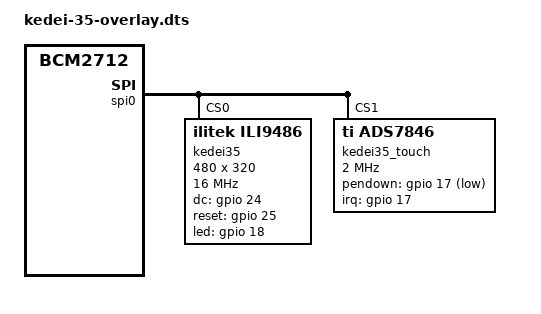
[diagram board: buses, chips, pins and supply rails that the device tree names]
/*
 * KeDei 3.5" TFT Display (ILI9486/MPI3501)
 * 480x320 resolution with XPT2046 touch
 */

/dts-v1/;
/plugin/;

/ {
    compatible = "brcm,bcm2712";
    
    fragment@0 {
        target = <&spidev0>;
        __overlay__ {
            status = "disabled";
        };
    };
    
    fragment@1 {
        target = <&spidev1>;
        __overlay__ {
            status = "disabled";
        };
    };
    
    fragment@2 {
        target = <&spi0>;
        __overlay__ {
            status = "okay";
            #address-cells = <1>;
            #size-cells = <0>;
            
            kedei35: kedei35@0 {
                compatible = "ilitek,ili9486";
                reg = <0>;
                spi-max-frequency = <16000000>;
                
                rotate = <90>;
                bgr;
                fps = <30>;
                buswidth = <8>;
                
                dc-gpios = <&gpio 24 0>;
                reset-gpios = <&gpio 25 0>;
                led-gpios = <&gpio 18 0>;
                
                width = <480>;
                height = <320>;
                
                /* KeDei specific init sequence */
                init = <0x10000f1 0x36 0x04 0x00 0x3c 0x0f 0x8f
                        0x10000f2 0x18 0xa3 0x12 0x02 0xb2 0x12 0xff 0x10 0x00
                        0x10000f8 0x21 0x04
                        0x10000f9 0x00 0x08
                        0x1000036 0x08
                        0x10000b4 0x00
                        0x10000c1 0x41
                        0x10000c5 0x00 0x18
                        0x10000c0 0x09 0x09
                        0x10000b6 0x00 0x42 0x3b
                        0x10000e0 0x00 0x07 0x10 0x09 0x17 0x0b 0x41 0x89 0x4b 0x0a 0x0c 0x0e 0x18 0x1b 0x0f
                        0x10000e1 0x00 0x17 0x1a 0x04 0x0e 0x06 0x2f 0x45 0x43 0x02 0x0a 0x09 0x32 0x36 0x0f
                        0x1000011
                        0x2000096
                        0x100003a 0x55
                        0x1000029>;
            };
            
            kedei35_touch: kedei35_touch@1 {
                compatible = "ti,ads7846";
                reg = <1>;
                spi-max-frequency = <2000000>;
                
                interrupt-parent = <&gpio>;
                interrupts = <17 2>;
                pendown-gpio = <&gpio 17 1>;
                
                ti,x-plate-ohms = /bits/ 16 <60>;
                ti,pressure-max = /bits/ 16 <255>;
                
                ti,swap-xy;
                ti,x-min = /bits/ 16 <150>;
                ti,x-max = /bits/ 16 <3950>;
                ti,y-min = /bits/ 16 <150>;
                ti,y-max = /bits/ 16 <3950>;
            };
        };
    };
    
    fragment@3 {
        target = <&gpio>;
        __overlay__ {
            kedei35_pins: kedei35_pins {
                brcm,pins = <17 18 24 25>;
                brcm,function = <0 1 1 1>;
                brcm,pull = <2 0 0 0>;
            };
        };
    };
    
    __overrides__ {
        speed = <&kedei35>,"spi-max-frequency:0";
        rotate = <&kedei35>,"rotate:0";
        fps = <&kedei35>,"fps:0";
    };
};
